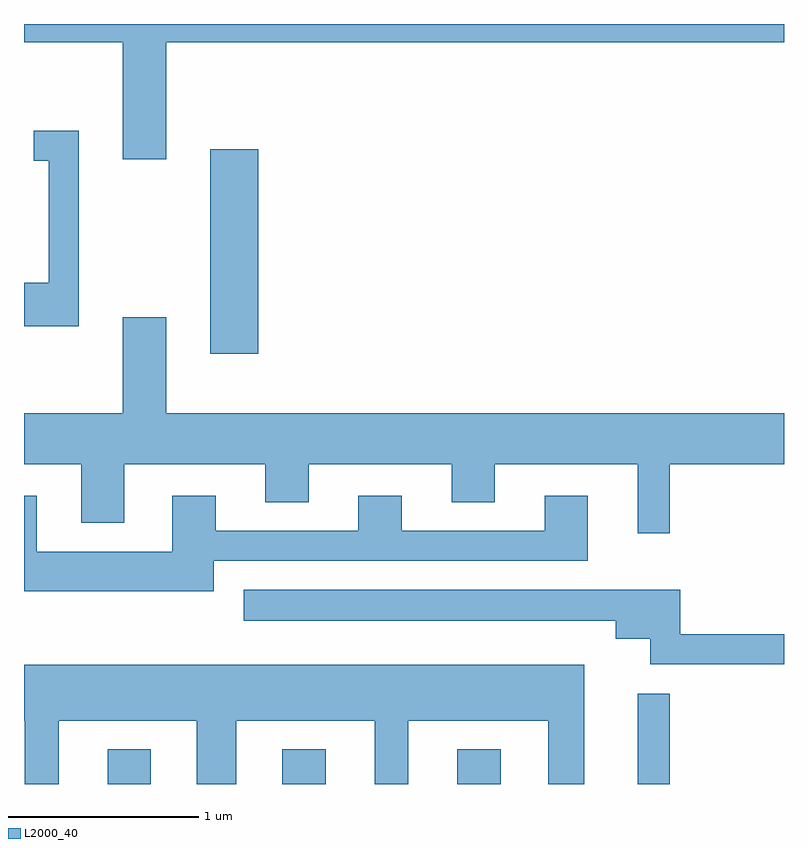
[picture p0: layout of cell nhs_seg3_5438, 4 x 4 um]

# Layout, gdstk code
import gdstk
lib = gdstk.Library(unit=1e-6, precision=1e-09)
def R(c, l, rs):  # rectangles x0, y0, x1, y1
    for r in rs: c.add(gdstk.rectangle(r[:2], r[2:], *l))
def A(c, l, x, y, w, h, nx, ny, dx, dy):  # array of equal rectangles
    R(c, l, [(x+i*dx, y+j*dy, x+i*dx+w, y+j*dy+h) for i in range(nx) for j in range(ny)])
def P(c, l, *ps):  # polygons
    for p in ps: c.add(gdstk.Polygon(p, *l))
L2000_40 = (2000, 40)

nhs_seg3_5438 = lib.new_cell('nhs_seg3_5438')
A(nhs_seg3_5438, L2000_40, 346.051, 1119.892, 0.228, 0.182, 3, 1, 0.92, 0)
R(nhs_seg3_5438, L2000_40, [(348.841,1119.892,349.009,1120.368), (346.591,1122.156,346.844,1123.234)])
P(nhs_seg3_5438, L2000_40, [(346.359,1123.796),(349.611,1123.796),(349.611,1123.892),(345.611,1123.892),(345.611,1123.796),(346.131,1123.796),(346.131,1123.181),(346.359,1123.181)],
  [(345.899,1123.329),(345.663,1123.329),(345.663,1123.171),(345.741,1123.171),(345.741,1122.529),(345.611,1122.529),(345.611,1122.301),(345.899,1122.301)],
  [(349.009,1121.576),(349.611,1121.576),(349.611,1121.844),(346.359,1121.844),(346.359,1122.349),(346.131,1122.349),(346.131,1121.844),(345.611,1121.844),(345.611,1121.576),(345.911,1121.576),(345.911,1121.266),(346.139,1121.266),(346.139,1121.576),(346.881,1121.576),(346.881,1121.376),(347.109,1121.376),(347.109,1121.576),(347.861,1121.576),(347.861,1121.376),(348.089,1121.376),(348.089,1121.576),(348.841,1121.576),(348.841,1121.213),(349.009,1121.213)],
  [(346.609,1121.066),(348.579,1121.066),(348.579,1121.409),(348.351,1121.409),(348.351,1121.224),(347.599,1121.224),(347.599,1121.409),(347.371,1121.409),(347.371,1121.224),(346.619,1121.224),(346.619,1121.409),(346.391,1121.409),(346.391,1121.114),(345.679,1121.114),(345.679,1121.409),(345.611,1121.409),(345.611,1120.906),(346.609,1120.906)],
  [(349.611,1120.679),(349.064,1120.679),(349.064,1120.914),(346.768,1120.914),(346.768,1120.751),(348.726,1120.751),(348.726,1120.656),(348.906,1120.656),(348.906,1120.521),(349.611,1120.521)],
  [(345.794,1120.226),(346.521,1120.226),(346.521,1119.892),(346.729,1119.892),(346.729,1120.226),(347.456,1120.226),(347.456,1119.892),(347.634,1119.892),(347.634,1120.226),(348.371,1120.226),(348.371,1119.892),(348.559,1119.892),(348.559,1120.519),(345.611,1120.519),(345.611,1120.226),(345.616,1120.226),(345.616,1119.892),(345.794,1119.892)])

lib.write_gds('nhs_seg3_5438.gds')
